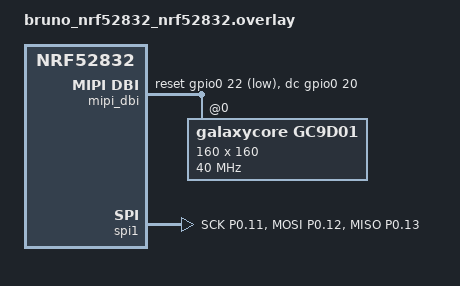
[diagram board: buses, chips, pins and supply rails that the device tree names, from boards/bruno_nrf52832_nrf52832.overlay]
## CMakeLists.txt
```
# Copyright (c) 2024
# SPDX-License-Identifier: Apache-2.0

cmake_minimum_required(VERSION 3.20.0)

# Register the custom GC9D01 driver module before find_package(Zephyr)
# so its DTS bindings and Kconfig are processed during CMake configuration.
list(APPEND EXTRA_ZEPHYR_MODULES
    ${CMAKE_CURRENT_SOURCE_DIR}/../custom_driver_module
)

find_package(Zephyr REQUIRED HINTS $ENV{ZEPHYR_BASE})
project(animated_eye)

# Collect all .c sources under src/ (main.c + eye_renderer.c)
FILE(GLOB app_sources src/*.c)
target_sources(app PRIVATE ${app_sources})

# Add src/eye_data/ so #include "eye_data/defaultEye.h" resolves correctly
target_include_directories(app PRIVATE
    ${CMAKE_CURRENT_SOURCE_DIR}/src
)
```

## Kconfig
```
# Copyright (c) 2024
# SPDX-License-Identifier: Apache-2.0

source "Kconfig.zephyr"
```

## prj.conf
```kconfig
# ── Stack ──────────────────────────────────────────────────────────────
# Eye rendering is iterative (no recursion). 4 KB is sufficient.
CONFIG_MAIN_STACK_SIZE=4096

# ── Logging ────────────────────────────────────────────────────────────
CONFIG_LOG=y
CONFIG_LV_USE_LOG=y
CONFIG_LV_LOG_LEVEL_WARN=y

# ── LVGL ───────────────────────────────────────────────────────────────
CONFIG_LVGL=y

# LVGL heap: canvas widget + screen + draw-task descriptors during rendering.
# The 128×128 pixel buffer (32 KB) is a static array — NOT from this heap.
# The canvas init uses memset() instead of lv_canvas_fill_bg() so the heap
# is only touched during draw-task execution in lv_timer_handler().
# 8 KB is sufficient for the draw pipeline with a minimal canvas-only UI.
CONFIG_LV_Z_MEM_POOL_SIZE=8192

# VDB = the render buffer LVGL flushes to the display in strips.
# 5% of 160×160×2 bytes = 8 lines × 160 px × 2 bytes = 2560 bytes.
# Reduces RAM vs default 10% (~5.1 KB); 16 flush passes for 128 eye rows.
CONFIG_LV_Z_VDB_SIZE=5

CONFIG_LV_COLOR_DEPTH_16=y
# Swap RGB565 bytes so SPIM DMA sends them MSB-first to the GC9D01.
CONFIG_LV_COLOR_16_SWAP=y

# ── Display ────────────────────────────────────────────────────────────
CONFIG_DISPLAY=y
# Input subsystem is an LVGL dependency even without touch input.
CONFIG_INPUT=y

# ── GPIO (blink button) ────────────────────────────────────────────────
CONFIG_GPIO=y

# ── Random number generator (hardware TRNG on nRF52832) ───────────────
CONFIG_ENTROPY_GENERATOR=y

# ── Math (used by the eye renderer for integer arithmetic) ────────────
CONFIG_FPU=n
```

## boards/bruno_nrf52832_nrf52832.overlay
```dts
/*
 * Device Tree Overlay — Bruno nRF52832 Board
 * Animated Eye demo
 *
 * Configures:
 *   - GC9D01 160×160 round TFT display via SPI1 (MIPI DBI Type-C)
 *
 * NOTE — Flash partition:
 *   The eye graphics tables (sclera 80 KB, iris 32 KB, eyelids 32 KB,
 *   polar 13 KB) add ~160 KB of read-only data to the binary.
 *   The default slot0_partition is 220 KB, which may not be large enough
 *   when combined with LVGL and Zephyr.
 *
 *   The partition override below expands slot0 to 440 KB by absorbing
 *   slot1 (OTA update slot). This is fine for a development demo.
 *   To restore dual-slot OTA capability, revert these partition changes.
 */

#include <zephyr/dt-bindings/gpio/gpio.h>
#include <zephyr/dt-bindings/mipi_dbi/mipi_dbi.h>
#include <zephyr/dt-bindings/display/panel.h>

/ {
    chosen {
        zephyr,display = &gc9d01;
    };

    mipi_dbi {
        compatible = "zephyr,mipi-dbi-spi";
        status = "okay";
        spi-dev = <&spi1>;
        dc-gpios    = <&gpio0 20 GPIO_ACTIVE_HIGH>;
        reset-gpios = <&gpio0 22 GPIO_ACTIVE_LOW>;
        write-only;
        #address-cells = <1>;
        #size-cells = <0>;

        /*
         * GC9D01 — Waveshare 0.71" BOE 160×160 round TFT.
         * Pixel format RGB565 (16-bit), no display-inversion for this panel.
         */
        gc9d01: gc9d01@0 {
            compatible = "galaxycore,gc9d01";
            reg = <0>;
            mipi-max-frequency = <40000000>;
            pixel-format = <PANEL_PIXEL_FORMAT_RGB_565>;
            width  = <160>;
            height = <160>;
        };
    };
};

/* Disable peripherals not used by this demo */
&i2c0 { status = "disabled"; };
&i2c1 { status = "disabled"; };
&spi0  { status = "disabled"; };
&adc   { status = "disabled"; };

/*
 * SPI1 — drives the GC9D01 via the MIPI DBI controller.
 * CS → P0.19 (active LOW), SCK → P0.11, MOSI → P0.12.
 */
&spi1 {
    compatible = "nordic,nrf-spim";
    status = "okay";

    #address-cells = <1>;
    #size-cells = <0>;

    cs-gpios = <&gpio0 19 GPIO_ACTIVE_LOW>;

    pinctrl-0 = <&spi1_default>;
    pinctrl-1 = <&spi1_sleep>;
    pinctrl-names = "default", "sleep";
};

/*
 * Pin multiplexer for SPI1.
 * SCK → P0.11, MOSI → P0.12, MISO → P0.13 (unused, display is write-only).
 */
&pinctrl {
    spi1_default: spi1_default {
        group1 {
            psels = <NRF_PSEL(SPIM_SCK,  0, 11)>,
                    <NRF_PSEL(SPIM_MOSI, 0, 12)>,
                    <NRF_PSEL(SPIM_MISO, 0, 13)>;
        };
    };

    spi1_sleep: spi1_sleep {
        group1 {
            psels = <NRF_PSEL(SPIM_SCK,  0, 11)>,
                    <NRF_PSEL(SPIM_MOSI, 0, 12)>,
                    <NRF_PSEL(SPIM_MISO, 0, 13)>;
            low-power-enable;
        };
    };
};

/*
 * Flash partition override — expands the application slot to 440 KB.
 *
 * Layout (512 KB total):
 *   0x00000 – 0x0BFFF : MCUboot   (48 KB, unchanged)
 *   0x0C000 – 0x79FFF : slot0     (440 KB, application)
 *   0x7A000 – 0x7FFFF : storage   (24 KB, unchanged)
 *
 * slot1 (OTA) is removed; restore it if OTA updates are needed.
 */
&flash0 {
    partitions {
        compatible = "fixed-partitions";
        #address-cells = <1>;
        #size-cells = <1>;

        boot_partition: partition@0 {
            label = "mcuboot";
            reg = <0x00000000 DT_SIZE_K(48)>;
        };

        slot0_partition: partition@c000 {
            label = "image-0";
            reg = <0x0000c000 DT_SIZE_K(440)>;
        };

        storage_partition: partition@7a000 {
            label = "storage";
            reg = <0x0007a000 DT_SIZE_K(24)>;
        };
    };
};
```

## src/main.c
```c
/*
 * main.c — Animated Eye demo for GC9D01 160×160 on Bruno nRF52832
 *
 * Replicates Bodmer's "UncannyEyes" (Arduino / TFT_eSPI) using LVGL canvas.
 *
 * Single eye, 128×128 pixels, centred vertically on the 160×160 round display.
 * button0 (sw0, P0.25) triggers a manual blink.
 * Eyes also blink autonomously (AUTOBLINK) and the iris scales randomly.
 *
 * SPDX-License-Identifier: Apache-2.0
 */

#include <zephyr/kernel.h>
#include <zephyr/device.h>
#include <zephyr/devicetree.h>
#include <zephyr/drivers/display.h>

#include <lvgl.h>
#include "eye_renderer.h"

#include <zephyr/logging/log.h>
LOG_MODULE_REGISTER(app, CONFIG_LOG_DEFAULT_LEVEL);

int main(void)
{
    const struct device *display_dev =
        DEVICE_DT_GET(DT_CHOSEN(zephyr_display));

    if (!device_is_ready(display_dev)) {
        LOG_ERR("Display not ready");
        return -ENODEV;
    }

    eye_renderer_init(lv_screen_active());

    /* Initial render before enabling the display */
    lv_timer_handler();

    display_blanking_off(display_dev);

    LOG_INF("Animated eye started");

    while (1) {
        eye_renderer_update();

        /*
         * Let LVGL flush the dirty canvas to the GC9D01.
         * lv_timer_handler() returns the ms until next internal task.
         * We cap the sleep at 5 ms so the animation loop stays responsive.
         */
        uint32_t sleep_ms = lv_timer_handler();
        k_msleep(MIN(sleep_ms, 5u));
    }

    return 0;
}
```

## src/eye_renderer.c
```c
/*
 * eye_renderer.c — Animated eye for GC9D01 160×160 on nRF52832 with LVGL
 *
 * Port of Bodmer's "Uncanny Eyes" (TFT_eSPI) to Zephyr + LVGL canvas.
 *
 * Key differences from the Arduino version:
 *   - PROGMEM / pgm_read_*  → direct const array access (ARM flash-mapped)
 *   - micros() / millis()   → k_uptime_ticks() / k_uptime_get_32()
 *   - random()              → sys_rand32_get()
 *   - BLINK_PIN             → sw0 GPIO (button0, active-low)
 *   - TFT pushPixels        → lv_canvas direct pixel write + finish_update
 *   - split() recursion     → simple linear iris interpolation state machine
 *
 * Config kept from config.h:
 *   EYE_1_XPOSITION = 20  (x offset of 128×128 canvas on 160-wide display)
 *   SYMMETRICAL_EYELID, AUTOBLINK, TRACKING, NUM_EYES = 1
 *   IRIS_MIN = 90, IRIS_MAX = 130 (autonomous iris scaling)
 *
 * Config removed:
 *   TFT_COUNT, TFT1_CS/TFT2_CS, DISPLAY_BACKLIGHT, LIGHT_PIN, wink pins
 *
 * SPDX-License-Identifier: Apache-2.0
 */

#include "eye_renderer.h"

#include <zephyr/kernel.h>
#include <zephyr/drivers/gpio.h>
#include <zephyr/random/random.h>
#include <zephyr/logging/log.h>
#include <string.h>

#include <lvgl.h>

/* Eye graphics tables — const arrays go to flash (.rodata) on ARM */
#define SYMMETRICAL_EYELID
#include "eye_data/defaultEye.h"

LOG_MODULE_REGISTER(eye_renderer, CONFIG_LOG_DEFAULT_LEVEL);

/* ── Configuration (from config.h) ──────────────────────────────────── */
#define NUM_EYES          1
#define EYE_1_XPOSITION   20        /* x offset on 160-wide display      */
#define EYE_Y_OFFSET      ((160 - SCREEN_HEIGHT) / 2) /* center vertically */

//#define AUTOBLINK                   /* autonomous blinking                */
#define TRACKING                    /* upper eyelid tracks pupil          */

#define IRIS_MIN          90        /* iris size — smallest (bright light) */
#define IRIS_MAX          130       /* iris size — largest  (dark)         */

/* ── Canvas (128×128 RGB565) ─────────────────────────────────────────── */
#define CANVAS_W   SCREEN_WIDTH     /* 128 */
#define CANVAS_H   SCREEN_HEIGHT    /* 128 */

/*
 * Static pixel buffer: 128×128×2 = 32 768 bytes in BSS (not LVGL heap).
 * Aligned to 4 bytes as required by the LVGL draw-buffer API.
 */
static uint16_t __aligned(4) canvas_buf[CANVAS_W * CANVAS_H];
static lv_draw_buf_t canvas_draw_buf;
static lv_obj_t     *eye_canvas;

/* ── Blink button (sw0 = button0, GPIO_ACTIVE_LOW) ──────────────────── */
#define BLINK_BTN_NODE  DT_ALIAS(sw0)
static const struct gpio_dt_spec blink_btn =
    GPIO_DT_SPEC_GET(BLINK_BTN_NODE, gpios);

/* ── Blink state machine ─────────────────────────────────────────────── */
#define NOBLINK 0   /* not blinking            */
#define ENBLINK 1   /* eyelid closing          */
#define DEBLINK 2   /* eyelid opening          */

typedef struct {
    uint8_t  state;
    uint32_t duration;   /* duration of current blink phase (µs) */
    uint32_t startTime;  /* micros() at phase start              */
} eyeBlink;

static struct {
    eyeBlink blink;
    int16_t  xposition;
} eye[NUM_EYES];

/* ── AUTOBLINK timing ────────────────────────────────────────────────── */
#ifdef AUTOBLINK
static uint32_t timeOfLastBlink = 0;
static uint32_t timeToNextBlink = 0;
#endif

/* ── Iris animation state (replaces recursive split()) ──────────────── */
static uint16_t iris_cur  = (IRIS_MIN + IRIS_MAX) / 2;
static uint16_t iris_tgt  = (IRIS_MIN + IRIS_MAX) / 2;
static uint32_t iris_start_us   = 0;
static uint32_t iris_dur_us     = 1000000; /* 1 s initial */

/* ── Eye movement state ──────────────────────────────────────────────── */
static bool     eyeInMotion      = false;
static int16_t  eyeOldX = 512, eyeOldY = 512;
static int16_t  eyeNewX = 512, eyeNewY = 512;
static uint32_t eyeMoveStartTime = 0;
static int32_t  eyeMoveDuration  = 0;

/* ── Ease curve (from original) ──────────────────────────────────────── */
static const uint8_t ease[] = {
    0,  0,  0,  0,  0,  0,  0,  1,  1,  1,  1,  1,  2,  2,  2,  3,
    3,  3,  4,  4,  4,  5,  5,  6,  6,  7,  7,  8,  9,  9, 10, 10,
   11, 12, 12, 13, 14, 15, 15, 16, 17, 18, 18, 19, 20, 21, 22, 23,
   24, 25, 26, 27, 27, 28, 29, 30, 31, 33, 34, 35, 36, 37, 38, 39,
   40, 41, 42, 44, 45, 46, 47, 48, 50, 51, 52, 53, 54, 56, 57, 58,
   60, 61, 62, 63, 65, 66, 67, 69, 70, 72, 73, 74, 76, 77, 78, 80,
   81, 83, 84, 85, 87, 88, 90, 91, 93, 94, 96, 97, 98,100,101,103,
  104,106,107,109,110,112,113,115,116,118,119,121,122,124,125,127,
  128,130,131,133,134,136,137,139,140,142,143,145,146,148,149,151,
  152,154,155,157,158,159,161,162,164,165,167,168,170,171,172,174,
  175,177,178,179,181,182,183,185,186,188,189,190,192,193,194,195,
  197,198,199,201,202,203,204,205,207,208,209,210,211,213,214,215,
  216,217,218,219,220,221,222,224,225,226,227,228,228,229,230,231,
  232,233,234,235,236,237,237,238,239,240,240,241,242,243,243,244,
  245,245,246,246,247,248,248,249,249,250,250,251,251,251,252,252,
  252,253,253,253,254,254,254,254,254,255,255,255,255,255,255,255
};

/* ── Helpers ─────────────────────────────────────────────────────────── */

/** Current time in microseconds (32-bit, wraps after ~71 min). */
static uint32_t micros_z(void)
{
    return (uint32_t)k_ticks_to_us_near32((uint32_t)k_uptime_ticks());
}

/**
 * rand_range() - Random integer in [lo, hi).
 * Uses sys_rand32_get() (hardware TRNG on nRF52832).
 */
static uint32_t rand_range(uint32_t lo, uint32_t hi)
{
    if (hi <= lo) {
        return lo;
    }
    return lo + (sys_rand32_get() % (hi - lo));
}

/* ── Eye rendering ───────────────────────────────────────────────────── */

/**
 * draw_eye() - Render one frame of the eye into the LVGL canvas buffer.
 *
 * Pixel transformation mirrors the Arduino code exactly so the same
 * color tables produce the same visual output:
 *   1. R↔B channel swap  (eye data is RGB565; display pipeline = BGR)
 *   2. Byte swap          (matches CONFIG_LV_COLOR_16_SWAP=y in LVGL)
 *
 * If colors appear R↔B inverted on your panel, remove step 1.
 */
static void draw_eye(uint32_t iScale,
                     uint32_t scleraX, uint32_t scleraY,
                     uint32_t uT,      uint32_t lT)
{
    uint32_t screenX, screenY, scleraXsave;
    int32_t  irisX, irisY;
    uint32_t p, a, d;

    scleraXsave = scleraX;
    irisY       = (int32_t)scleraY - (SCLERA_HEIGHT - IRIS_HEIGHT) / 2;

    /*
     * For e=0 (single eye): eyelid image is scanned right-to-left
     * (lidX counts down from SCREEN_WIDTH-1 to 0).
     */
    for (screenY = 0; screenY < SCREEN_HEIGHT; screenY++, scleraY++, irisY++) {
        scleraX = scleraXsave;
        irisX   = (int32_t)scleraXsave - (SCLERA_WIDTH - IRIS_WIDTH) / 2;

        uint16_t lidX  = SCREEN_WIDTH - 1; /* start at 127, count down */

        for (screenX = 0; screenX < SCREEN_WIDTH;
             screenX++, scleraX++, irisX++, lidX--) {

            if ((lower[screenY * SCREEN_WIDTH + lidX] <= lT) ||
                (upper[screenY * SCREEN_WIDTH + lidX] <= uT)) {
                /* Covered by eyelid → black */
                p = 0;
            } else if ((irisY < 0) || (irisY >= IRIS_HEIGHT) ||
                       (irisX < 0) || (irisX >= IRIS_WIDTH)) {
                /* Outside iris region → sclera */
                p = sclera[scleraY * SCLERA_WIDTH + scleraX];
            } else {
                /* Inside iris region — polar coordinate lookup */
                p = polar[irisY * IRIS_WIDTH + irisX];
                d = (iScale * (p & 0x7F)) / 128;
                if (d < IRIS_MAP_HEIGHT) {
                    a = (IRIS_MAP_WIDTH * (p >> 7)) / 512;
                    p = iris[d * IRIS_MAP_WIDTH + a];
                } else {
                    p = sclera[scleraY * SCLERA_WIDTH + scleraX];
                }
            }

            /*
             * Eye data tables are RGB565 (R in bits [15:11]).
             * LVGL with LV_COLOR_FORMAT_RGB565 canvas + LV_COLOR_16_SWAP=y
             * applies the byte swap automatically during canvas→VDB
             * compositing, so the SPIM DMA sends the high byte (R+G) first
             * as the GC9D01 expects. No manual transformation needed.
             */
            canvas_buf[screenY * CANVAS_W + screenX] = (uint16_t)p;
        }
    }

    /* Mark canvas dirty so LVGL flushes it on the next lv_timer_handler() */
    lv_obj_invalidate(eye_canvas);
}

/* ── Animation frame ─────────────────────────────────────────────────── */

static void frame(uint16_t iScale)
{
    int16_t  eyeX, eyeY;
    uint32_t t = micros_z();

    /* ── Autonomous X/Y eye movement ─────────────────────────────── */
    int32_t dt = (int32_t)(t - eyeMoveStartTime);

    if (eyeInMotion) {
        if (dt >= eyeMoveDuration) {
            eyeInMotion     = false;
            eyeMoveDuration = (int32_t)rand_range(0, 3000000);
            eyeMoveStartTime = t;
            eyeX = eyeOldX = eyeNewX;
            eyeY = eyeOldY = eyeNewY;
        } else {
            int16_t e = (int16_t)(ease[255 * dt / eyeMoveDuration] + 1);
            eyeX = eyeOldX + (int16_t)(((eyeNewX - eyeOldX) * e) / 256);
            eyeY = eyeOldY + (int16_t)(((eyeNewY - eyeOldY) * e) / 256);
        }
    } else {
        eyeX = eyeOldX;
        eyeY = eyeOldY;
        if (dt > eyeMoveDuration) {
            int16_t  dx, dy;
            uint32_t dist;
            do {
                eyeNewX = (int16_t)rand_range(0, 1024);
                eyeNewY = (int16_t)rand_range(0, 1024);
                dx = (int16_t)((eyeNewX * 2) - 1023);
                dy = (int16_t)((eyeNewY * 2) - 1023);
            } while ((dist = (uint32_t)((int32_t)dx * dx + (int32_t)dy * dy))
                     > (1023u * 1023u));
            (void)dist;
            eyeMoveDuration  = (int32_t)rand_range(72000, 144000);
            eyeMoveStartTime = t;
            eyeInMotion      = true;
        }
    }

    /* ── AUTOBLINK ────────────────────────────────────────────────── */
#ifdef AUTOBLINK
    if ((t - timeOfLastBlink) >= timeToNextBlink) {
        timeOfLastBlink = t;
        uint32_t bd = rand_range(36000, 72000);
        for (int e = 0; e < NUM_EYES; e++) {
            if (eye[e].blink.state == NOBLINK) {
                eye[e].blink.state     = ENBLINK;
                eye[e].blink.startTime = t;
                eye[e].blink.duration  = bd;
            }
        }
        timeToNextBlink = bd * 3 + rand_range(0, 4000000);
    }
#endif

    /* ── Blink state machine (eye 0) ─────────────────────────────── */
    int blink_pressed = gpio_pin_get_dt(&blink_btn); /* 1 = pressed */

    if (eye[0].blink.state) {
        if ((t - eye[0].blink.startTime) >= eye[0].blink.duration) {
            if ((eye[0].blink.state == ENBLINK) && (blink_pressed == 1)) {
                /* Hold closed while button is held */
            } else {
                if (++eye[0].blink.state > DEBLINK) {
                    eye[0].blink.state = NOBLINK;
                } else {
                    eye[0].blink.duration  *= 2;
                    eye[0].blink.startTime  = t;
                }
            }
        }
    } else {
        /* Not blinking — check manual blink button */
        if (blink_pressed == 1) {
            uint32_t bd = rand_range(36000, 72000);
            eye[0].blink.state     = ENBLINK;
            eye[0].blink.startTime = t;
            eye[0].blink.duration  = bd;
        }
    }

    /* ── Scale eye X/Y to sclera pixel units ─────────────────────── */
    eyeX = (int16_t)(((int32_t)eyeX * (SCLERA_WIDTH  - 128)) / 1023);
    eyeY = (int16_t)(((int32_t)eyeY * (SCLERA_HEIGHT - 128)) / 1023);

    if (eyeX > (SCLERA_WIDTH  - 128)) eyeX = SCLERA_WIDTH  - 128;
    if (eyeY > (SCLERA_HEIGHT - 128)) eyeY = SCLERA_HEIGHT - 128;

    /* ── Eyelid tracking ─────────────────────────────────────────── */
    static uint8_t uThreshold = 128;
    uint8_t lThreshold;

#ifdef TRACKING
    int16_t sampleX = SCLERA_WIDTH  / 2 - (eyeX / 2);
    int16_t sampleY = SCLERA_HEIGHT / 2 - (eyeY + IRIS_HEIGHT / 4);
    uint8_t n;
    if (sampleY < 0) {
        n = 0;
    } else {
        n = (uint8_t)((upper[sampleY * SCREEN_WIDTH + sampleX] +
                       upper[sampleY * SCREEN_WIDTH + (SCREEN_WIDTH - 1 - sampleX)]) / 2);
    }
    uThreshold = (uint8_t)((uThreshold * 3 + n) / 4);
    lThreshold = 254 - uThreshold;
#else
    uThreshold = lThreshold = 0;
#endif

    /* ── Apply blink to eyelid thresholds ────────────────────────── */
    uint8_t uT = uThreshold;
    if (eye[0].blink.state) {
        uint32_t s = t - eye[0].blink.startTime;
        if (s >= eye[0].blink.duration) {
            s = 255;
        } else {
            s = 255u * s / eye[0].blink.duration;
        }
        s    = (eye[0].blink.state == DEBLINK) ? 1 + s : 256 - s;
        uT         = (uint8_t)((uThreshold * s + 254u * (257u - s)) / 256u);
        lThreshold = (uint8_t)((lThreshold * s + 254u * (257u - s)) / 256u);
    }

    draw_eye(iScale, (uint32_t)eyeX, (uint32_t)eyeY, uT, lThreshold);
}

/* ── Public API ──────────────────────────────────────────────────────── */

void eye_renderer_init(lv_obj_t *screen)
{
    /* Configure the blink button (GPIO_PULL_UP + GPIO_ACTIVE_LOW in DTS) */
    if (!gpio_is_ready_dt(&blink_btn)) {
        LOG_ERR("Blink button GPIO not ready");
    } else if (gpio_pin_configure_dt(&blink_btn, GPIO_INPUT) < 0) {
        LOG_ERR("Failed to configure blink button");
    }

    /* Black background so the border around the 128×128 eye is invisible */
    lv_obj_set_style_bg_color(screen, lv_color_black(), 0);
    lv_obj_set_style_bg_opa(screen, LV_OPA_COVER, 0);

    /*
     * Initialise draw buffer with the static pixel array.
     * RGB565 format, LV_STRIDE_AUTO = width * 2 bytes = 256 bytes/row.
     */
    lv_draw_buf_init(&canvas_draw_buf,
                     CANVAS_W, CANVAS_H,
                     LV_COLOR_FORMAT_RGB565,
                     LV_STRIDE_AUTO,
                     canvas_buf,
                     sizeof(canvas_buf));

    /* Create canvas widget and attach the draw buffer */
    eye_canvas = lv_canvas_create(screen);
    lv_canvas_set_draw_buf(eye_canvas, &canvas_draw_buf);
    lv_obj_set_pos(eye_canvas, EYE_1_XPOSITION, EYE_Y_OFFSET);

    /*
     * Zero the pixel buffer directly (black = 0x0000 in any RGB565 byte order).
     * Avoids using lv_canvas_fill_bg() which invokes the full LVGL draw
     * pipeline and can exhaust the LVGL heap during initialisation.
     */
    memset(canvas_buf, 0, sizeof(canvas_buf));

    /* Initialise eye state */
    eye[0].blink.state = NOBLINK;
    eye[0].xposition   = EYE_1_XPOSITION;

    /* Seed iris animation */
    iris_start_us = micros_z();
    iris_dur_us   = 1000000;

    LOG_INF("Eye renderer initialised (canvas at x=%d, y=%d, %dx%d)",
            EYE_1_XPOSITION, EYE_Y_OFFSET, CANVAS_W, CANVAS_H);
}

void eye_renderer_update(void)
{
    uint32_t now = micros_z();
    uint32_t elapsed = now - iris_start_us;

    /* Advance iris interpolation */
    uint16_t iris_scale;

    if (elapsed >= iris_dur_us) {
        iris_cur      = iris_tgt;
        iris_tgt      = (uint16_t)rand_range(IRIS_MIN, IRIS_MAX + 1);
        iris_start_us = now;
        iris_dur_us   = rand_range(300000, 1500000); /* 0.3 – 1.5 s */
        iris_scale    = iris_cur;
    } else {
        int32_t delta = (int32_t)iris_tgt - (int32_t)iris_cur;
        iris_scale = (uint16_t)((int32_t)iris_cur +
                                delta * (int32_t)elapsed / (int32_t)iris_dur_us);
    }

    /* Clamp to valid range */
    if (iris_scale < IRIS_MIN) iris_scale = IRIS_MIN;
    if (iris_scale > IRIS_MAX) iris_scale = IRIS_MAX;

    frame(iris_scale);
}
```

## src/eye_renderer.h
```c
#pragma once

#include <lvgl.h>

/**
 * eye_renderer_init() - Initialize the eye canvas and GPIO blink button.
 *
 * @param screen  Active LVGL screen (lv_screen_active()).
 */
void eye_renderer_init(lv_obj_t *screen);

/**
 * eye_renderer_update() - Advance the animation by one frame and redraw.
 *
 * Call this as fast as possible from the main loop, right before
 * lv_timer_handler().
 */
void eye_renderer_update(void);
```
